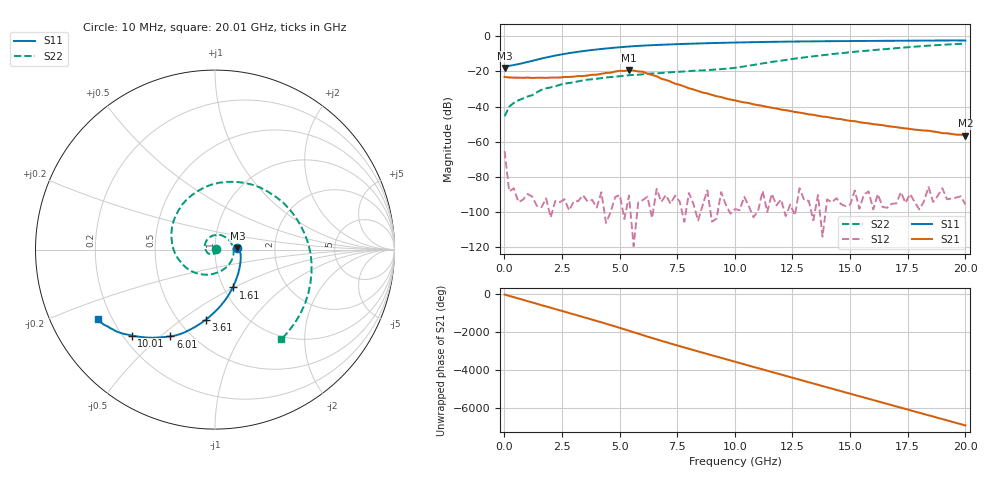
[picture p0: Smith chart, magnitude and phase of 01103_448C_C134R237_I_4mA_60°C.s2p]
!;Filter: kein Filter
!auto
!3/21/2019 9:25:24 AM
!3/21/2019 9:25:40 AM
!SP-Measurements Prober G4
!SP-Measurements Prober G4
!01103_448C
!134
!237
!12
!60
!-20
!0.00399976
!1.88
!0.54220246
!0.54220246
# Hz S  RI  R 50
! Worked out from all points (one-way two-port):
!   101 points, 10 MHz to 20.01 GHz, reference 50 ohm
!   highest |S21| = -19.23 dB at 5.41 GHz (marker M1); lowest = -56.6 dB at 20.01 GHz (marker M2)
!   lowest |S11| = -18.0 dB at 10 MHz (marker M3), VSWR 1.29, Z = 64.3 + j1.06 ohm
!   |S11| at or under -10 dB: start of sweep to 2.609 GHz
!   |S22| runs from -45.5 to -4.1 dB; largest |S21 - S12| = 0.11
!   S11 on the Smith chart (normalised r, x): 10 MHz: 1.29, +0.02; 1.61 GHz: 1.11, -0.49; 3.61 GHz: 0.67, -0.62; 6.01 GHz: 0.39, -0.54; 10.01 GHz: 0.23, -0.40; 20.01 GHz: 0.15, -0.27
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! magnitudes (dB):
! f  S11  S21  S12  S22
! 10 MHz  -18.0  -23.1  -65.4  -45.5
! 210 MHz  -16.8  -23.4  -88.3  -40.1
! 410 MHz  -16.3  -23.5  -86.6  -37.9
! 610 MHz  -15.8  -23.6  -94.4  -36.5
! 1.21 GHz  -14.0  -23.7  -91.3  -33.5
! 1.61 GHz  -12.6  -23.6  -97.4  -30.5
! 2.61 GHz  -10.0  -23.1  -92.8  -26.9
! 3.41 GHz  -8.4  -22.6  -90.5  -25.1
! 3.61 GHz  -8.1  -22.3  -94.1  -24.7
! 4.61 GHz  -6.7  -20.7  -100.2  -23.2
! 5.01 GHz  -6.2  -19.6  -90.4  -22.7
! 5.21 GHz  -6.0  -19.7  -104.1  -22.4
! 5.41 GHz  -5.8  -19.2  -90.7  -22.1
! 6.01 GHz  -5.3  -20.2  -93.3  -21.6
! 6.61 GHz  -4.9  -22.7  -86.9  -21.0
! 6.81 GHz  -4.8  -24.1  -94.3  -20.9
! 8.61 GHz  -4.0  -32.0  -95.9  -19.4
! 10.01 GHz  -3.5  -36.5  -98.4  -17.9
! 12.01 GHz  -3.1  -41.7  -93.0  -13.9
! 13.41 GHz  -2.8  -44.7  -104.8  -11.4
! 16.81 GHz  -2.5  -51.4  -95.4  -7.0
! 20.01 GHz  -2.4  -56.6  -95.7  -4.1
